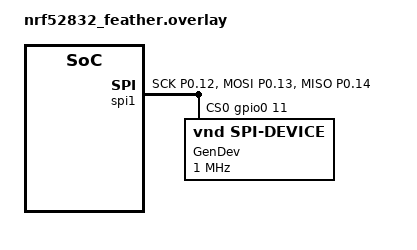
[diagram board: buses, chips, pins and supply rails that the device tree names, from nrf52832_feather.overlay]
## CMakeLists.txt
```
# SPDX-License-Identifier: Apache-2.0

cmake_minimum_required(VERSION 3.20.0)
find_package(Zephyr REQUIRED HINTS $ENV{ZEPHYR_BASE})
project(blinky)

target_sources(app PRIVATE src/main.c src/drivers/sharp.c src/font.c src/graphics.c src/watch_face.c)
```

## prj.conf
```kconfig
CONFIG_GPIO=y

CONFIG_SPI=y

CONFIG_LOG=y
```

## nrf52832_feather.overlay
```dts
#include <zephyr/dt-bindings/pinctrl/nrf-pinctrl.h>

&spi1 {
        compatible = "nordic,nrf-spi";
        status = "okay";
        cs-gpios = <&gpio0 11 GPIO_ACTIVE_HIGH>;
        pinctrl-0 = <&spi1_default>;
        pinctrl-1 = <&spi1_sleep>;
        pinctrl-names = "default", "sleep";
        gendev: gendev@0 {
                compatible = "vnd,spi-device";
                reg = <0>;
                spi-max-frequency = <1000000>;
                label = "GenDev";
        };
};


&pinctrl {
    spi1_default: spi1_default {
        group1 {
            /* SPI1 active pins: SCK, MOSI, MISO */
            psels = <NRF_PSEL(SPIM_SCK, 0, 12)>, /* P0.12 */
                    <NRF_PSEL(SPIM_MOSI, 0, 13)>, /* P0.13 */
                    <NRF_PSEL(SPIM_MISO, 0, 14)>; /* P0.14 */
        };
    };

    spi1_sleep: spi1_sleep {
        group1 {
            /* Sleep state: you can leave same pins or disable input buffer etc. */
            psels = <NRF_PSEL(SPIM_SCK, 0, 12)>,
                    <NRF_PSEL(SPIM_MOSI, 0, 13)>,
                    <NRF_PSEL(SPIM_MISO, 0, 14)>;
            low-power-enable; /* example: put pins into low-power/input-disconnected */
        };
    };
};
```

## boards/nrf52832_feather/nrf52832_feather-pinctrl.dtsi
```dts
/*
 * Copyright (c) 2022 Nordic Semiconductor
 * SPDX-License-Identifier: Apache-2.0
 */

&pinctrl {
	uart0_default: uart0_default {
		group1 {
			psels = <NRF_PSEL(UART_TX, 0, 21)>,
				<NRF_PSEL(UART_RX, 0, 19)>,
				<NRF_PSEL(UART_RTS, 0, 5)>,
				<NRF_PSEL(UART_CTS, 0, 7)>;
		};
	};

	uart0_sleep: uart0_sleep {
		group1 {
			psels = <NRF_PSEL(UART_TX, 0, 21)>,
				<NRF_PSEL(UART_RX, 0, 19)>,
				<NRF_PSEL(UART_RTS, 0, 5)>,
				<NRF_PSEL(UART_CTS, 0, 7)>;
			low-power-enable;
		};
	};
};
```

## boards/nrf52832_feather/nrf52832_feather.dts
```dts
/*
 * Copyright (c) 2018 Zelin <zelin@makerdiary.com>
 * Copyright (c) 2018 makerdiary.com.
 *
 * SPDX-License-Identifier: Apache-2.0
 */

/dts-v1/;
#include <nordic/nrf52832_qfaa.dtsi>
#include "nrf52832_feather-pinctrl.dtsi"
#include <zephyr/dt-bindings/input/input-event-codes.h>

/ {
	model = "nRF52832-FEATHER Micro Dev Kit";
	compatible = "nrf52832-feather";

	chosen {
		zephyr,console = &uart0;
		zephyr,shell-uart = &uart0;
		zephyr,uart-mcumgr = &uart0;
		zephyr,bt-mon-uart = &uart0;
		zephyr,bt-c2h-uart = &uart0;
		zephyr,sram = &sram0;
		zephyr,flash = &flash0;
		zephyr,code-partition = &slot0_partition;
	};

	leds {
		compatible = "gpio-leds";
		led0_red: led_0 {
			gpios = <&gpio0 17 GPIO_ACTIVE_LOW>;
			label = "Red LED 0";
		};
	};

	/* These aliases are provided for compatibility with samples */
	aliases {
		led0 = &led0_red;
		watchdog0 = &wdt0;
	};

};

&reg {
	regulator-initial-mode = <NRF5X_REG_MODE_DCDC>;
};

&uicr {
	gpio-as-nreset;
};

&gpiote {
	status = "okay";
};

&gpio0 {
	status = "okay";
};

&uart0 {
	status = "okay";
	compatible = "nordic,nrf-uart";
	current-speed = <115200>;
	pinctrl-0 = <&uart0_default>;
	pinctrl-1 = <&uart0_sleep>;
	pinctrl-names = "default", "sleep";
};

&flash0 {

	partitions {
		compatible = "fixed-partitions";
		#address-cells = <1>;
		#size-cells = <1>;

		boot_partition: partition@0 {
			label = "mcuboot";
			reg = <0x00000000 0xc000>;
		};
		slot0_partition: partition@c000 {
			label = "image-0";
			reg = <0x0000C000 0x32000>;
		};
		slot1_partition: partition@3e000 {
			label = "image-1";
			reg = <0x0003E000 0x32000>;
		};
		scratch_partition: partition@70000 {
			label = "image-scratch";
			reg = <0x00070000 0xa000>;
		};
		storage_partition: partition@7a000 {
			label = "storage";
			reg = <0x0007a000 0x00006000>;
		};
	};
};
```

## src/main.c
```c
/*
 * Copyright (c) 2016 Intel Corporation
 *
 * SPDX-License-Identifier: Apache-2.0
 */

#include <stdio.h>
#include <zephyr/kernel.h>
#include <zephyr/drivers/gpio.h>
#include <zephyr/logging/log.h>

#include "drivers/sharp.h"
#include "watch_face.h"



// I will express a view on minimal features here:

// I think we should have 5 buttons 

// One watchface whatever that looks like
// Forward back to switch applications. 
// Select/ Start button
// "Exit"
// Multipurpose

// Three applications
// Watchface 
// - Running Activity, Elapsed Time, Elapsed distance, Current and Average Pace
// - Music, Play Pause, Skip
// Keep a state "which app is displayed" 




LOG_MODULE_REGISTER(main, LOG_LEVEL_DBG);

/* 1000 msec = 1 sec */
#define SLEEP_TIME_MS  0

/* The devicetree node identifier for the "led0" alias. */
#define LED0_NODE DT_ALIAS(led0)

/*
 * A build error on this line means your board is unsupported.
 * See the sample documentation for information on how to fix this.
 */
static const struct gpio_dt_spec led = GPIO_DT_SPEC_GET(LED0_NODE, gpios);

int main(void)
{
	int ret;
	bool led_state = true;

	if (!gpio_is_ready_dt(&led)) {
		return 0;
	}

	ret = gpio_pin_configure_dt(&led, GPIO_OUTPUT_ACTIVE);
	if (ret < 0) {
		return 0;
	}

	ret = spi_sharp_init();
	if (ret < 0) {
        LOG_ERR("spi_sharp_init failed: %d\n", ret);
		return 0;
	}

	while (1) {
		ret = gpio_pin_toggle_dt(&led);
		if (ret < 0) {
			return 0;
		}
		
		render_watch_screen();
		sharp_draw();

		led_state = !led_state;
		printf("LED state: %s\n", led_state ? "ON" : "OFF");
		k_msleep(SLEEP_TIME_MS);
	}
	return 0;
}
```

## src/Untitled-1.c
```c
#define REV(bits)
#define LETTER(a, b, c, d, e) (REV(d) | (REV(c) << 4) | )






a = LETTER(
0b0110
0b1001
0b1111
0b1001
0b1001
)
```

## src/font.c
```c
#include "font.h"

uint64_t font[256] = {
    #include "font.txt"
};

 uint64_t digit_bmp[13] = {
    #include "digit_bmp.txt"
 };
```

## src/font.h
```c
#pragma once

#include <stdint.h>

#define SPACE 11
#define COLON 10
#define POINT 12

#define FONT_WIDTH 5
#define FONT_HEIGHT 8

extern uint64_t font[256];

// These have to be written backwards manually
extern uint64_t digit_bmp[13];
```

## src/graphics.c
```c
#include "graphics.h"
#include <stdlib.h>

#include "font.h"
#include "drivers/sharp.h"


/* Bresenham line draw */
void drawLine(int x0, int y0, int x1, int y1) {
    int dx = abs(x1 - x0), sx = x0 < x1 ? 1 : -1;
    int dy = -abs(y1 - y0), sy = y0 < y1 ? 1 : -1;
    int err = dx + dy, e2;
    for (int i = 0; ; i++) {
        setPixel(x0, y0, 1);
        if (x0 == x1 && y0 == y1) break;
        e2 = 2 * err;
        if (e2 >= dy) { err += dy; x0 += sx; }
        if (e2 <= dx) { err += dx; y0 += sy; }
    }
}

/*
Draws a digit 0 through 9, or :, . or space at the specified coords;
*/

void drawDigit(int x0, int y0, uint8_t digit, uint8_t scale){
    for(int i = 0; i< FONT_HEIGHT * scale; i++){
        uint8_t real_i = i / scale;
        for(int j = 0; j< FONT_WIDTH* scale; j++){
            uint8_t real_j = j / scale;
            uint8_t idx = real_i * FONT_WIDTH + real_j;
            uint8_t bit = (digit_bmp[digit] & (1ll << idx)) >> idx;
            setPixel(x0 + j, y0 + i, bit);
        }
    }
}

/*
Draws a digit 0 through 9, or :, . or space at the specified coords;
*/

void drawChar(int x0, int y0, char ch, uint8_t scale){
    for(int i = 0; i< FONT_HEIGHT * scale; i++){
        uint8_t real_i = i / scale;
        for(int j = 0; j< FONT_WIDTH* scale; j++){
            uint8_t real_j = j / scale;
            uint8_t idx = real_i * FONT_WIDTH + real_j;
            uint8_t bit = (font[ch] & (1ll << idx)) >> idx;
            setPixel(x0 + j, y0 + i, bit);
        }
    }
}

void drawTime( uint8_t hh, uint8_t mm, uint8_t ss, uint8_t x0, uint8_t y0, uint8_t scale){
    uint8_t out[] = {0, 0, COLON, 0, 0, COLON, 0, 0};
    out[0] = hh / 10;
    out[1] = hh % 10;
    out[3] = mm / 10;
    out[4] = mm % 10;
    out[6] = ss / 10;
    out[7] = ss % 10;
    for(int i = 0; i< 8; i++){
        drawDigit(x0 + i * ( FONT_WIDTH + 1) * scale, y0, out[i], scale);
    }

}

void drawText(char* str, uint8_t x0, uint8_t y0, uint8_t scale){

    for(int i = 0 ; str[i]; i++){
        drawChar(x0 + i * ( FONT_WIDTH + 1) * scale, y0, str[i], scale);
    }

}
```

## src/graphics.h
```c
#pragma once
#include <stdint.h>



/* Bresenham line draw */
void drawLine(int x0, int y0, int x1, int y1);

/*
Draws a digit 0 through 9, or :, . or space at the specified coords;
*/

void drawDigit(int x0, int y0, uint8_t digit, uint8_t scale);

void drawTime( uint8_t hh, uint8_t mm, uint8_t ss, uint8_t x0, uint8_t y0, uint8_t scale);

void drawText(char* str, uint8_t x0, uint8_t x1, uint8_t scale);

void drawChar(int x0, int y0, char ch, uint8_t scale);
```

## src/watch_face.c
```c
#include <stdint.h>
#include "watch_face.h"
#include "drivers/sharp.h"
#include "graphics.h"

void render_watch_screen(){
    clear_screen();
    drawText("FOSS-WATCH", 0, 0, 2);

    int64_t ms = k_uptime_get();   /* milliseconds since boot */
    // int64_t s  = ms / 1000;

    int hours   = (ms / 3600000) % 12;    /* analog clock, 12-hour */
    int minutes = (ms / 60000) % 60;
    int milliseconds = ms % 60000;
    int seconds = milliseconds / 1000;

    /* Center of display */
    int cx = SHARP_W / 2;
    int cy = SHARP_H / 2;
    int radius = (SHARP_H < SHARP_W ? SHARP_H : SHARP_W) / 2 - 2;

    /* Angles in radians (0 at 12 o’clock, clockwise) */
    float secAngle = (milliseconds / 60000.0f) * 2 * M_PI;
    float minAngle = (minutes / 60.0f) * 2 * M_PI;
    float hourAngle = ((hours + minutes/60.0f) / 12.0f) * 2 * M_PI;

    /* Hand endpoints */
    int sx = cx + (int)(radius * 0.9f * sinf(secAngle));
    int sy = cy - (int)(radius * 0.9f * cosf(secAngle));
    int mx = cx + (int)(radius * 0.75f * sinf(minAngle));
    int my = cy - (int)(radius * 0.75f * cosf(minAngle));
    int hx = cx + (int)(radius * 0.5f * sinf(hourAngle));
    int hy = cy - (int)(radius * 0.5f * cosf(hourAngle));

    /* Draw hands */
    drawLine(cx, cy, hx, hy);  // hour hand
    drawLine(cx, cy, mx, my);  // minute hand
    drawLine(cx, cy, sx, sy);  // second hand
    
   
    drawTime(hours, minutes, seconds,  0, 140, 2);
    
}
```

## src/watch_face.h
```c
#pragma once

void render_watch_screen();
```
